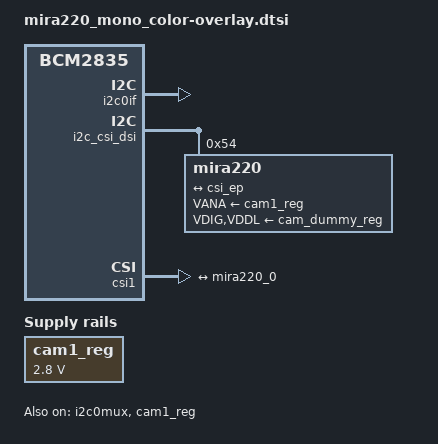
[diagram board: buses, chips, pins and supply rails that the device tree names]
// SPDX-License-Identifier: GPL-2.0-only
// Definitions for MIRA220 camera module on VC I2C bus

#include <dt-bindings/gpio/gpio.h>

/{
	compatible = "brcm,bcm2835";

	fragment@0 {
		target = <&i2c0if>;
		__overlay__ {
			status = "okay";
		};
	};

	clk_frag: fragment@1 {
		target = <&cam1_clk>;
		__overlay__ {
			status = "okay";
			clock-frequency = <24000000>;
		};
	};

	fragment@2 {
		target = <&i2c0mux>;
		__overlay__ {
			status = "okay";
		};
	};

	fragment@5 {
		target = <&cam1_reg>;
		__overlay__ {
			status = "okay";
			regulator-name = "mira220_vana";
			regulator-min-microvolt = <2800000>;
			regulator-max-microvolt = <2800000>;
		};
	};

	i2c_frag: fragment@100 {
		target = <&i2c_csi_dsi>;
		__overlay__ {
			#address-cells = <1>;
			#size-cells = <0>;
			status = "okay";

			mira220: mira220@54 {
				// compatible = "ams,mira220";
				// I2C addresses range from 0x54 to 0x57 (7-bit address)
				// The interface board uses 0x54 by default
				// MIRA220CSP: 0x54; PMIC: 0x2D; LM86: 0x4C; LM2759: 0x53;
				// dsPIC33EP32MC503: 0x0A
				reg = <0x54>;
				// reg-names = "mira220";
				status = "okay";

				//clocks = <&mira220_clk>;
				clocks = <&cam1_clk>;
				clock-names = "xclk";

				// TODO(jalv): Add here camera supplies based on the
				// TPS65912 pmic.
				VANA-supply = <&cam1_reg>;	/* 2.8v */
				VDIG-supply = <&cam_dummy_reg>;	/* 1.8v */
				VDDL-supply = <&cam_dummy_reg>;	/* 1.2v */

				// FIXME(jalv): Make sure orientation is correct
				rotation = <0>;
				orientation = <2>;
				skip-reg-upload = <0>;

				port {
					mira220_0: endpoint {
						remote-endpoint = <&csi_ep>;
						clock-lanes = <0>;
						data-lanes = <1 2>;
						// clock-noncontinuous; // mira220 reg seq use continuois clk
						link-frequencies =
							/bits/ 64 <456000000>;
					};
				};
	
			};
		};
	};

	csi_frag: fragment@101 {
		target = <&csi1>;
		csi: __overlay__ {
			status = "okay";
			brcm,media-controller;

			port {
				csi_ep: endpoint {
					remote-endpoint = <&mira220_0>;
					clock-lanes = <0>;
					data-lanes = <1 2>;
					// clock-noncontinuous; // mira220 reg seq use continous clk
				};
			};
		};
	};

	__overrides__ {
		rotation = <&mira220>,"rotation:0";
		orientation = <&mira220>,"orientation:0";
		skip-reg-upload = <&mira220>,"skip-reg-upload:0";
		media-controller = <&csi>,"brcm,media-controller?";
		cam0 = <&i2c_frag>, "target:0=",<&i2c_csi_dsi0>,
		       <&csi_frag>, "target:0=",<&csi0>,
		       <&clk_frag>, "target:0=",<&cam0_clk>,
		       <&mira220>, "clocks:0=",<&cam0_clk>,
		       <&mira220>, "VANA-supply:0=",<&cam0_reg>;
	};
};
